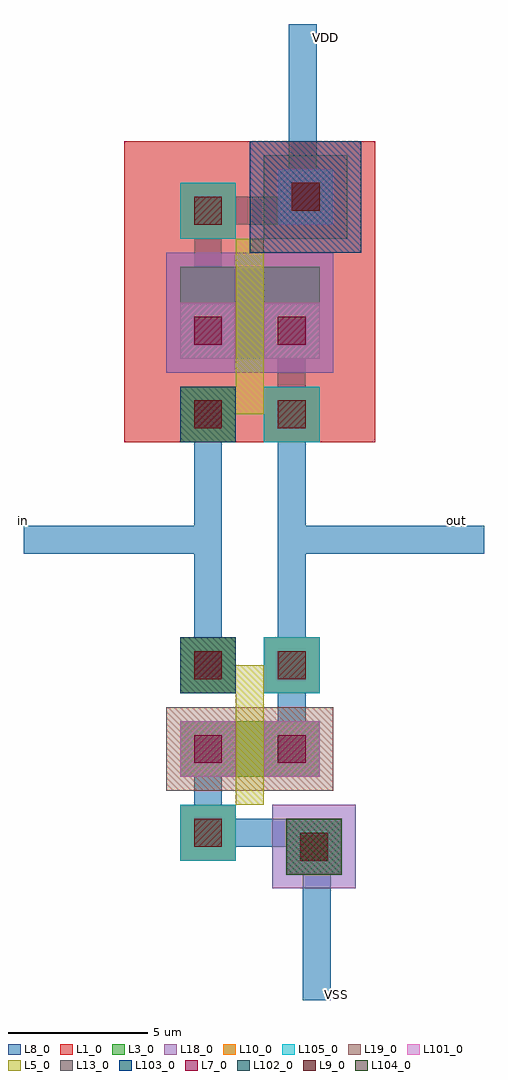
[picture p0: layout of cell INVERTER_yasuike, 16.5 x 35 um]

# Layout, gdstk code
import gdstk
lib = gdstk.Library(unit=1e-6, precision=1e-07)
def R(c, l, rs):  # rectangles x0, y0, x1, y1
    for r in rs: c.add(gdstk.rectangle(r[:2], r[2:], *l))
L1_0 = (1, 0)
L3_0 = (3, 0)
L5_0 = (5, 0)
L7_0 = (7, 0)
L8_0 = (8, 0)
L9_0 = (9, 0)
L10_0 = (10, 0)
L13_0 = (13, 0)
L18_0 = (18, 0)
L19_0 = (19, 0)
L101_0 = (101, 0)
L102_0 = (102, 0)
L103_0 = (103, 0)
L104_0 = (104, 0)
L105_0 = (105, 0)

dcont = lib.new_cell('dcont')
R(dcont, L3_0, [(-1,-1,1,1)])
R(dcont, L7_0, [(-0.5,-0.5,0.5,0.5)])
R(dcont, L8_0, [(-1,-1,1,1)])
R(dcont, L13_0, [(-0.5,-0.5,0.5,0.5)])
R(dcont, L101_0, [(-1,-1,1,1)])

pcont = lib.new_cell('pcont')
R(pcont, L5_0, [(-1,-1,1,1)])
R(pcont, L7_0, [(-0.5,-0.5,0.5,0.5)])
R(pcont, L8_0, [(-1,-1,1,1)])
R(pcont, L13_0, [(-0.5,-0.5,0.5,0.5)])
R(pcont, L102_0, [(-1,-1,1,1)])

via = lib.new_cell('Via')
R(via, L8_0, [(-1,-1,1,1)])
R(via, L9_0, [(-0.5,-0.5,0.5,0.5)])
R(via, L10_0, [(-1,-1,1,1)])
R(via, L13_0, [(-0.5,-0.5,0.5,0.5)])
R(via, L105_0, [(-1,-1,1,1)])

dcont1 = lib.new_cell('dcont1')
R(dcont1, L3_0, [(-1,-1,1,1)])
R(dcont1, L7_0, [(-0.5,-0.5,0.5,0.5)])
R(dcont1, L8_0, [(-1,-1,1,1)])
R(dcont1, L13_0, [(-0.5,-0.5,0.5,0.5)])
R(dcont1, L101_0, [(-1,-1,1,1)])

nsubcont = lib.new_cell('nsubcont')
R(nsubcont, L1_0, [(-2,-2,2,2)])
R(nsubcont, L19_0, [(-1.5,-1.5,1.5,1.5)])
R(nsubcont, L103_0, [(-2,-2,2,2)])
nsubcont.add(gdstk.Reference(dcont1, (0,0)))

pch_1 = lib.new_cell('Pch$1')
R(pch_1, L1_0, [(-2,0,7,10.8)])
R(pch_1, L3_0, [(0,3,5,6.3)])
R(pch_1, L18_0, [(-0.5,2.5,5.5,6.8)])
pch_1.add(gdstk.FlexPath([(1,3),(1,6.3)], 2, ends="flush", simple_path=True, layer=8, datatype=0))  # L8_0
pch_1.add(gdstk.FlexPath([(4,3),(4,6.3)], 2, ends="flush", simple_path=True, layer=8, datatype=0))  # L8_0
pch_1.add(gdstk.FlexPath([(1,5.3),(1,8.3)], 1, ends="flush", simple_path=True, layer=8, datatype=0))  # L8_0
pch_1.add(gdstk.FlexPath([(4,1),(4,4)], 1, ends="flush", simple_path=True, layer=8, datatype=0))  # L8_0
pch_1.add(gdstk.FlexPath([(2.5,3),(2.5,6.3)], 1, ends=(1, 1), simple_path=True, layer=5, datatype=0))  # L5_0
pch_1.add(gdstk.FlexPath([(1,1.5),(2.5,1.5),(2.5,2)], 1, ends="flush", simple_path=True, layer=5, datatype=0))  # L5_0
pch_1.add(gdstk.Reference(dcont, (1,4)))
pch_1.add(gdstk.Reference(dcont, (4,4)))
pch_1.add(gdstk.Reference(pcont, (1,1)))
pch_1.add(gdstk.Reference(via, (1,1)))
pch_1.add(gdstk.Reference(via, (1,8.3)))
pch_1.add(gdstk.Reference(via, (4,1)))
pch_1.add(gdstk.Reference(nsubcont, (4.5,8.8)))
pch_1.add(gdstk.Reference(via, (4.5,8.8)))

psubcont = lib.new_cell('psubcont')
R(psubcont, L18_0, [(-1.5,-1.5,1.5,1.5)])
R(psubcont, L104_0, [(-1,-1,1,1)])
psubcont.add(gdstk.Reference(dcont1, (0,0)))

nch_1 = lib.new_cell('Nch$1')
R(nch_1, L3_0, [(0,3,5,5)])
R(nch_1, L19_0, [(-0.5,2.5,5.5,5.5)])
nch_1.add(gdstk.FlexPath([(1,3),(1,5)], 2, ends="flush", simple_path=True, layer=8, datatype=0))  # L8_0
nch_1.add(gdstk.FlexPath([(4,3),(4,5)], 2, ends="flush", simple_path=True, layer=8, datatype=0))  # L8_0
nch_1.add(gdstk.FlexPath([(1,1),(1,4)], 1, ends="flush", simple_path=True, layer=8, datatype=0))  # L8_0
nch_1.add(gdstk.FlexPath([(4,4),(4,7)], 1, ends="flush", simple_path=True, layer=8, datatype=0))  # L8_0
nch_1.add(gdstk.FlexPath([(2.5,3),(2.5,5)], 1, ends=(1, 1), simple_path=True, layer=5, datatype=0))  # L5_0
nch_1.add(gdstk.FlexPath([(1,6.5),(2.5,6.5),(2.5,6)], 1, ends="flush", simple_path=True, layer=5, datatype=0))  # L5_0
nch_1.add(gdstk.Reference(dcont, (1,4)))
nch_1.add(gdstk.Reference(dcont, (4,4)))
nch_1.add(gdstk.Reference(pcont, (1,7)))
nch_1.add(gdstk.Reference(via, (1,7)))
nch_1.add(gdstk.Reference(via, (1,1)))
nch_1.add(gdstk.Reference(via, (4,7)))
nch_1.add(gdstk.Reference(psubcont, (4.8,0.5)))
nch_1.add(gdstk.Reference(via, (4.8,0.5)))

inverter_yasuike = lib.new_cell('INVERTER_yasuike')
inverter_yasuike.add(gdstk.FlexPath([(-1.4,1.2),(-1.4,-8.2)], 1, ends="flush", simple_path=True, layer=8, datatype=0))  # L8_0
inverter_yasuike.add(gdstk.FlexPath([(-8,-3.5),(-0.9,-3.5)], 1, ends="flush", simple_path=True, layer=8, datatype=0))  # L8_0
inverter_yasuike.add(gdstk.FlexPath([(1.6,1.1),(1.6,-8.1)], 1, ends="flush", simple_path=True, layer=8, datatype=0))  # L8_0
inverter_yasuike.add(gdstk.FlexPath([(8.5,-3.5),(1.1,-3.5)], 1, ends="flush", simple_path=True, layer=8, datatype=0))  # L8_0
inverter_yasuike.add(gdstk.FlexPath([(2,15),(2,8.3),(-1.8,8.3)], 1, ends="flush", simple_path=True, layer=8, datatype=0))  # L8_0
inverter_yasuike.add(gdstk.FlexPath([(2.5,-20),(2.5,-14),(-1.8,-14)], 1, ends="flush", simple_path=True, layer=8, datatype=0))  # L8_0
inverter_yasuike.add(gdstk.Reference(pch_1, (-2.4,0)))
inverter_yasuike.add(gdstk.Reference(nch_1, (-2.4,-15)))
inverter_yasuike.add(gdstk.Label('in', (-8,-2.8), layer=8, texttype=0))
inverter_yasuike.add(gdstk.Label('out', (7.5,-2.8), layer=8, texttype=0))
inverter_yasuike.add(gdstk.Label('VDD', (2.8,14.5), layer=8, texttype=0))
inverter_yasuike.add(gdstk.Label('VSS', (3.2,-19.8), layer=8, texttype=0))

lib.write_gds('INVERTER_yasuike.gds')
